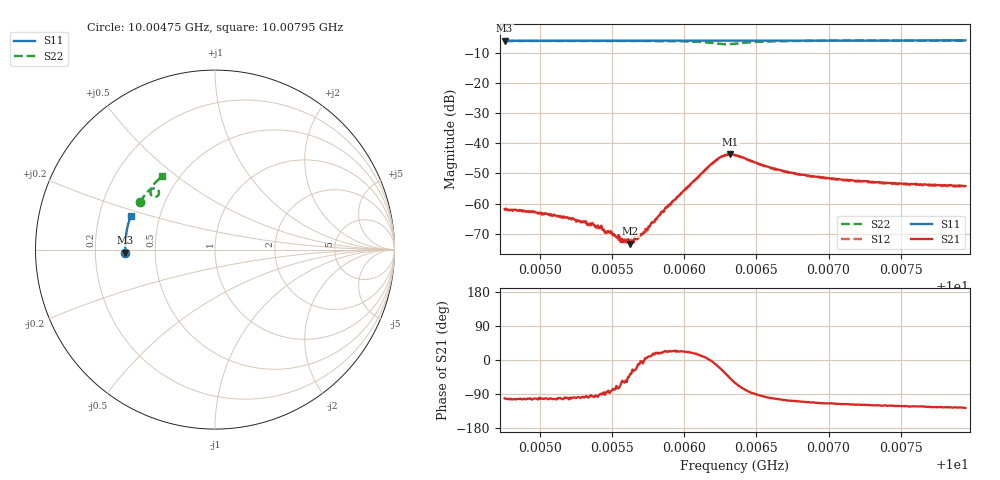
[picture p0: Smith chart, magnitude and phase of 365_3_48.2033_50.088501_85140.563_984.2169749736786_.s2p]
#  HZ  S  RI  R  50.00
! Rohde & Schwarz Vector Network Analyzer
! Rohde-Schwarz,ZNB20-2Port,1311601062101988,3.16
! Created: UTC 3/20/2024, 11:52:22 AM
! freq[Hz]  re:S11  im:S11  re:S21  im:S21  re:S12  im:S12  re:S22  im:S22
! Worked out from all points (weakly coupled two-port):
!   401 points, 10.00475 GHz to 10.00795 GHz, reference 50 ohm
!   highest |S21| = -43.64 dB at 10.00632 GHz (marker M1); lowest = -73.3 dB at 10.00563 GHz (marker M2)
!   lowest |S11| = -6.0 dB at 10.00475 GHz (marker M3), VSWR 2.99, Z = 16.7 - j0.802 ohm
!   |S11| at or under -10 dB: nowhere
!   |S22| runs from -7.2 to -6.0 dB; largest |S21 - S12| = 0.00036
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1.0004755e10  -0.4987 -0.018  -0.000155 -0.00079  -0.000131 -0.000783  -0.4176 0.2632
1.000505e10  -0.4998 0.00127  -0.000138 -0.000667  -0.000132 -0.00064  -0.4072 0.2807
1.000529e10  -0.4999 0.0166  -6.33e-05 -0.000482  -7.38e-05 -0.000491  -0.3978 0.2948
1.0005362e10  -0.4999 0.0214  -4.98e-05 -0.000475  -2.49e-05 -0.000468  -0.3949 0.2993
1.000541e10  -0.4999 0.0245  -2.04e-05 -0.000389  3.59e-06 -0.000409  -0.3927 0.3021
1.000545e10  -0.4999 0.027  -1.07e-05 -0.000333  1.79e-05 -0.000345  -0.3909 0.3044
1.0005505e10  -0.4997 0.0307  6.95e-05 -0.000288  4.26e-05 -0.000304  -0.3882 0.3078
1.0005529e10  -0.4997 0.0322  0.000101 -0.000256  8.17e-05 -0.000278  -0.3872 0.3093
1.0005569e10  -0.4994 0.0348  0.000151 -0.000214  9.65e-05 -0.000214  -0.3852 0.3118
1.0005585e10  -0.4995 0.0359  0.000118 -0.000201  0.000142 -0.000212  -0.3841 0.3127
1.0005625e10  -0.4993 0.0384  0.000172 -0.00013  0.000146 -0.000132  -0.3823 0.3152
1.0005641e10  -0.4993 0.0393  0.000217 -0.000102  0.000201 -0.000139  -0.3813 0.3162
1.0005713e10  -0.499 0.0441  0.000309 -5e-05  0.000328 1.62e-06  -0.3772 0.3206
1.0005825e10  -0.4985 0.0514  0.000595 0.000206  0.000574 0.000229  -0.3698 0.3279
1.00062e10  -0.4958 0.0755  0.00476 -0.000499  0.00467 -0.000284  -0.3167 0.3303
1.0006264e10  -0.4953 0.0795  0.00543 -0.00281  0.00546 -0.00251  -0.3129 0.31
1.000632e10  -0.4948 0.0827  0.00431 -0.00497  0.00446 -0.00465  -0.326 0.295
1.0006352e10  -0.4947 0.0847  0.00317 -0.00554  0.00338 -0.0053  -0.3367 0.2933
1.0006615e10  -0.4924 0.1015  -0.000754 -0.00377  -0.000582 -0.00372  -0.3588 0.3316
1.0006887e10  -0.4891 0.1188  -0.00106 -0.00262  -0.000934 -0.00264  -0.3469 0.3555
1.0007422e10  -0.481 0.1524  -0.0011 -0.00188  -0.001 -0.00188  -0.3202 0.3856
1.0007949e10  -0.4707 0.1846  -0.00117 -0.00157  -0.00105 -0.0016  -0.2934 0.4095
